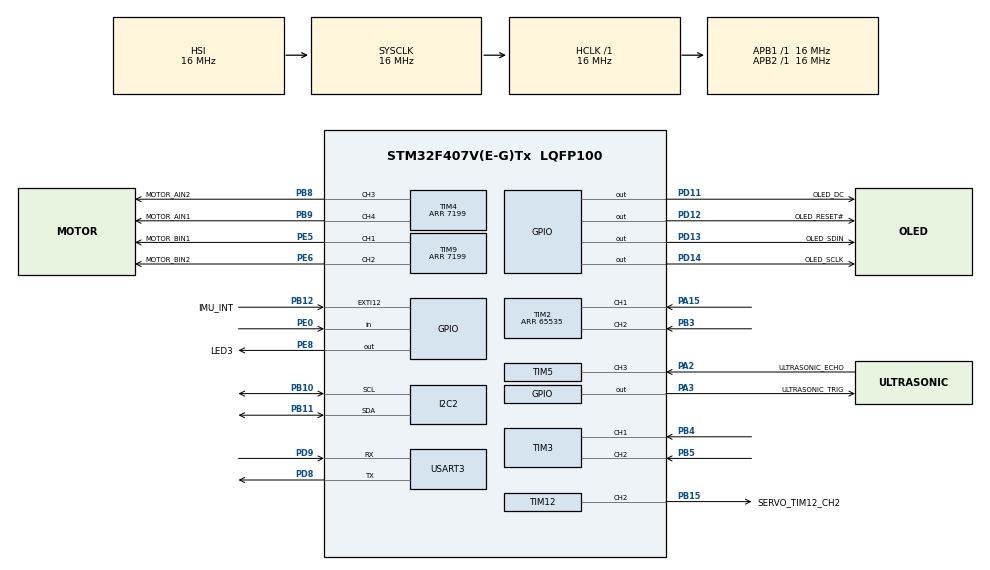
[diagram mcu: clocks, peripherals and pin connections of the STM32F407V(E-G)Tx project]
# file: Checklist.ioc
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FREERTOS.Queues01=uartQueue,32,uint8_t,0,Dynamic,NULL,NULL
FREERTOS.Tasks01=defaultTask,24,256,StartDefaultTask,Default,NULL,Dynamic,NULL,NULL;communicateTask,32,256,StartCommunicateTask,Default,NULL,Dynamic,NULL,NULL;motorTask,24,256,StartMotorTask,Default,NULL,Dynamic,NULL,NULL;oledTask,8,512,StartOledTask,Default,NULL,Dynamic,NULL,NULL;gyroTask,32,256,StartGyroTask,Default,NULL,Dynamic,NULL,NULL;ultrasonicTask,16,256,StartUltrasonicTask,Default,NULL,Dynamic,NULL,NULL
Mcu.Family=STM32F4
Mcu.Name=STM32F407V(E-G)Tx
Mcu.Package=LQFP100
NVIC.PriorityGroup=NVIC_PRIORITYGROUP_4
NVIC.TIM5_IRQn=true\:5\:0\:false\:false\:true\:true\:true\:true\:true
NVIC.TIM7_IRQn=true\:15\:0\:false\:false\:true\:false\:false\:true\:true
NVIC.TimeBase=TIM7_IRQn
NVIC.TimeBaseIP=TIM7
NVIC.USART3_IRQn=true\:5\:0\:false\:false\:true\:true\:true\:true\:true
PA13.Signal=SYS_JTMS-SWDIO
PA14.Signal=SYS_JTCK-SWCLK
PA15.Signal=S_TIM2_CH1_ETR
PA2.GPIO_Label=ULTRASONIC_ECHO
PA2.Signal=S_TIM5_CH3
PA3.GPIO_Label=ULTRASONIC_TRIG
PA3.Signal=GPIO_Output
PB10.Mode=I2C
PB10.Signal=I2C2_SCL
PB11.Mode=I2C
PB11.Signal=I2C2_SDA
PB12.GPIO_Label=IMU_INT
PB12.Signal=GPXTI12
PB15.GPIO_Label=SERVO_TIM12_CH2
PB15.Signal=S_TIM12_CH2
PB3.Signal=S_TIM2_CH2
PB4.Signal=S_TIM3_CH1
PB5.Signal=S_TIM3_CH2
PB8.GPIO_Label=MOTOR_AIN2
PB8.GPIO_Speed=GPIO_SPEED_FREQ_HIGH
PB8.Signal=S_TIM4_CH3
PB9.GPIO_Label=MOTOR_AIN1
PB9.GPIO_Speed=GPIO_SPEED_FREQ_HIGH
PB9.Signal=S_TIM4_CH4
PD11.GPIO_Label=OLED_DC
PD11.Signal=GPIO_Output
PD12.GPIO_Label=OLED_RESET\#
PD12.Signal=GPIO_Output
PD13.GPIO_Label=OLED_SDIN
PD13.Signal=GPIO_Output
PD14.GPIO_Label=OLED_SCLK
PD14.Signal=GPIO_Output
PD8.Mode=Asynchronous
PD8.Signal=USART3_TX
PD9.Mode=Asynchronous
PD9.Signal=USART3_RX
PE0.Signal=GPIO_Input
PE5.GPIO_Label=MOTOR_BIN1
PE5.GPIO_Speed=GPIO_SPEED_FREQ_HIGH
PE5.Signal=S_TIM9_CH1
PE6.GPIO_Label=MOTOR_BIN2
PE6.GPIO_Speed=GPIO_SPEED_FREQ_HIGH
PE6.Signal=S_TIM9_CH2
PE8.GPIO_Label=LED3
PE8.Signal=GPIO_Output
ProjectManager.HeapSize=0x200
ProjectManager.StackSize=0x400
ProjectManager.TargetToolchain=STM32CubeIDE
RCC.AHBFreq_Value=16000000
RCC.APB1Freq_Value=16000000
RCC.APB2Freq_Value=16000000
RCC.CortexFreq_Value=16000000
RCC.HSE_VALUE=25000000
RCC.HSI_VALUE=16000000
RCC.LSE_VALUE=32768
RCC.SYSCLKFreq_VALUE=16000000
RCC.VCOOutputFreq_Value=192000000
SH.S_TIM12_CH2.0=TIM12_CH2,PWM Generation2 CH2
SH.S_TIM2_CH1_ETR.0=TIM2_CH1,Encoder_Interface
SH.S_TIM2_CH2.0=TIM2_CH2,Encoder_Interface
SH.S_TIM3_CH1.0=TIM3_CH1,Encoder_Interface
SH.S_TIM3_CH2.0=TIM3_CH2,Encoder_Interface
SH.S_TIM4_CH3.0=TIM4_CH3,PWM Generation3 CH3
SH.S_TIM4_CH4.0=TIM4_CH4,PWM Generation4 CH4
SH.S_TIM5_CH3.0=TIM5_CH3,Input_Capture3_from_TI3
SH.S_TIM9_CH1.0=TIM9_CH1,PWM Generation1 CH1
SH.S_TIM9_CH2.0=TIM9_CH2,PWM Generation2 CH2
TIM12.AutoReloadPreload=TIM_AUTORELOAD_PRELOAD_ENABLE
TIM12.Channel-PWM\ Generation2\ CH2=TIM_CHANNEL_2
TIM12.Period=2000-1
TIM12.Prescaler=160-1
TIM2.EncoderMode=TIM_ENCODERMODE_TI12
TIM2.IC1Filter=10
TIM2.IC2Filter=10
TIM2.Period=65535
TIM3.EncoderMode=TIM_ENCODERMODE_TI12
TIM3.IC1Filter=10
TIM3.IC1Polarity=TIM_ICPOLARITY_FALLING
TIM3.IC2Filter=10
TIM3.IC2Polarity=TIM_ICPOLARITY_RISING
TIM4.AutoReloadPreload=TIM_AUTORELOAD_PRELOAD_ENABLE
TIM4.Channel-PWM\ Generation3\ CH3=TIM_CHANNEL_3
TIM4.Channel-PWM\ Generation4\ CH4=TIM_CHANNEL_4
TIM4.Period=7199
TIM5.Channel-Input_Capture3_from_TI3=TIM_CHANNEL_3
TIM5.Period=65535
TIM5.Prescaler=16-1
TIM6.Prescaler=16-1
TIM9.AutoReloadPreload=TIM_AUTORELOAD_PRELOAD_ENABLE
TIM9.Channel-PWM\ Generation1\ CH1=TIM_CHANNEL_1
TIM9.Channel-PWM\ Generation2\ CH2=TIM_CHANNEL_2
TIM9.Period=7199
USART3.VirtualMode=VM_ASYNC
VP_FREERTOS_VS_CMSIS_V2.Mode=CMSIS_V2
VP_SYS_VS_tim7.Mode=TIM7
VP_TIM12_VS_ClockSourceINT.Mode=Internal
VP_TIM4_VS_ClockSourceINT.Mode=Internal
VP_TIM5_VS_ClockSourceINT.Mode=Internal
VP_TIM6_VS_ClockSourceINT.Mode=Enable_Timer
VP_TIM9_VS_ClockSourceINT.Mode=Internal
board=custom

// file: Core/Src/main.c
/* USER CODE BEGIN Header */
/**
  ******************************************************************************
  * @file           : main.c
  * @brief          : Main program body
  ******************************************************************************
  * @attention
  *
  * Copyright (c) 2026 STMicroelectronics.
  * All rights reserved.
  *
  * This software is licensed under terms that can be found in the LICENSE file
  * in the root directory of this software component.
  * If no LICENSE file comes with this software, it is provided AS-IS.
  *
  ******************************************************************************
  */
/* USER CODE END Header */
#include "main.h"
#include "cmsis_os.h"

/* USER CODE BEGIN Includes */
#include "oled.h"
#include <stdio.h>
#include <string.h>
#include "ICM20948.h"
#include <stdlib.h>
#include <math.h>
/* USER CODE END Includes */

/* USER CODE BEGIN PD */
/* ==========================================
 *        CALIBRATION CONTROL PANEL
 * ========================================== */

// --- 1. DISTANCE & GYRO CALIBRATION ---
#define TICKS_PER_CM         59.44f	// Tweak if "S10" travels more or less than 10cm
#define SLIDE_TICKS_PER_CM   75.19  // Specific tuning multiplier used in slide maneuvers
#define BACKWARD_MULTIPLIER	 1.12f

// --- 2. MOTOR BIAS (HARDWARE OFFSETS) ---
// Move Straight
#define RIGHT_MOTOR_BIAS     1.18f  // If drifts left, decrease. If drifts right, increase.
// Left Turn 90 to 360
#define TURN_BIAS_DEG_L      37.73f  // If over-turns left, increase. If under-turns, decrease.
#define TURN_SCALE_L		 1.00f
// Left Turn 45
#define TURN_BIAS_DEG_L_SMALL	5.0f
#define TURN_SCALE_L_SMALL		0.95f
// Right Turn 90 to 360
#define TURN_BIAS_DEG_R		 20.83f
#define TURN_SCALE_R		 0.9813f
// Right Turn 45
#define TURN_BIAS_DEG_R_SMALL 5.0f	// Proportional bias for right turns
#define TURN_SCALE_R_SMALL	 0.95f
// Misc Bias
#define TURN_SLAVE_RATIO     0.59    	// Speed ratio of inner wheel during arc turns
#define TURN_STOP_TOLERANCE_DEG 1.0f

// --- 3. SERVO CALIBRATION ---
#define SERVOCENTER          150
#define SERVOLEFT            100
#define SERVORIGHT           200
#define TURNLEFT_TH          115
#define TURNRIGHT_TH         195

// --- 4. PID GAINS (Tune for different floors!) ---
// Straight Line Controller
#define PID_STRAIGHT_KP		 1.8f	// Proportional Gain: How aggresively it seeks the target.
#define PID_STRAIGHT_KI		 0.05f	// Integral Gain: How aggresively it fights getting stuck (hills/bumps).
#define GYRO_CORRECTION_KP	 35.0f	// Proportional Gain: How aggresively it corrects straight-line drift.

// Turning Controller
#define PID_ANG_MAX          4800   // Cruise speed for large angle turns (> 45 deg)
#define PID_ANG_HIGH         4400	// Approaching (25 to 45 deg)
#define PID_ANG_MED          4100	// Deceleration zone (15 to 25 deg)
#define PID_ANG_LOW          3900	// Approach speed (6 to 15 deg)
#define PID_ANG_FINE         3800	// Final settle speed (2 to 6 deg)
#define PID_ANG_MIN_L        2900   // Minimum power to overcome turn friction.
#define PID_ANG_MIN_R		 3700

// --- 5. PWM POWER LIMITS (Max Power = 7199) ---
#define PID_STR_MAX          5000   // ~55% speed (Leave headroom so PID has room to adjust!)
#define PID_STR_MIN          2800   // Minimum power to break static floor friction

/* USER CODE END PD */

 I2C_HandleTypeDef hi2c2;

TIM_HandleTypeDef htim2;
TIM_HandleTypeDef htim3;
TIM_HandleTypeDef htim4;
TIM_HandleTypeDef htim5;
TIM_HandleTypeDef htim6;
TIM_HandleTypeDef htim9;
TIM_HandleTypeDef htim12;

UART_HandleTypeDef huart3;

/* Definitions for defaultTask */
osThreadId_t defaultTaskHandle;
/* Larger stacks prevent task-local buffers and formatting from exhausting the
 * original 1 KB allocations. */
const osThreadAttr_t defaultTask_attributes = {
  .name = "defaultTask",
  .stack_size = 512 * 4,
  .priority = (osPriority_t) osPriorityNormal,
};
/* Definitions for communicateTask */
osThreadId_t communicateTaskHandle;
const osThreadAttr_t communicateTask_attributes = {
  .name = "communicateTask",
  .stack_size = 512 * 4,
  .priority = (osPriority_t) osPriorityAboveNormal,
};
/* Definitions for motorTask */
osThreadId_t motorTaskHandle;
const osThreadAttr_t motorTask_attributes = {
  .name = "motorTask",
  .stack_size = 512 * 4,
  .priority = (osPriority_t) osPriorityNormal,
};
/* Definitions for oledTask */
osThreadId_t oledTaskHandle;
const osThreadAttr_t oledTask_attributes = {
  .name = "oledTask",
  .stack_size = 768 * 4,
  .priority = (osPriority_t) osPriorityLow,
};
/* Definitions for gyroTask */
osThreadId_t gyroTaskHandle;
const osThreadAttr_t gyroTask_attributes = {
  .name = "gyroTask",
  .stack_size = 512 * 4,
  .priority = (osPriority_t) osPriorityAboveNormal,
};
/* Definitions for ultrasonicTask */
osThreadId_t ultrasonicTaskHandle;
const osThreadAttr_t ultrasonicTask_attributes = {
  .name = "ultrasonicTask",
  .stack_size = 512 * 4,
  .priority = (osPriority_t) osPriorityBelowNormal,
};
/* Definitions for uartQueue */
osMessageQueueId_t uartQueueHandle;
const osMessageQueueAttr_t uartQueue_attributes = {
  .name = "uartQueue"
};
/* USER CODE BEGIN PV */

// Global variables safely accessed by FreeRTOS tasks
/* --- SERIAL COMMUNICATION VARIABLES --- */
uint8_t rxByte;									// UART receive buffer
int flag_done = 0;
int magnitude = 0;

/* --- MOTOR VARIABLES --- */
uint16_t pwmVal_servo = SERVOCENTER;
uint16_t pwmVal_R = 0;
uint16_t pwmVal_L = 0;
int times_acceptable = 0;
int e_brake = 0;
int is_moving = 0; 							    // (0 = Idle, 1 = Moving)
uint32_t move_start_time = 0;
/* Track completion for UART telemetry and let the receive ISR request a
 * prompt, safe motor shutdown. */
uint8_t move_finish_reason = 0; 			    // 1 = reached gyro/encoder target, 2 = timeout
volatile uint8_t emergency_stop_requested = 0;  // Set by UART ISR on '!'.
float distance_integral = 0.0;
uint32_t current_cmd_timeout = 5000;

/* --- ENCODER VARIABLES --- */
int32_t left_encoder_val = 0;
int32_t right_encoder_val = 0;
int32_t left_target = 0;
int32_t right_target = 0;
double target_angle = 0;

/* --- GYROSCOPE VARIABLES --- */
double total_angle = 0;
uint8_t gyroBuffer[20];
uint8_t ICMAddress = 0x68;
double error_angle = 0;

/* --- OLED DISPLAY VARIABLES --- */
char oled_status_msg[32] = "Booting...";		// For boot/status message
char dash_lastCmd[15] = "None";					// RPi command
double dash_gyroZ = 0.0;						// Gyroscope angle
float dash_ultraDist = 0.0;						// Ultrasonic distance
int dash_encoderL = 0;							// Encoder Left Speed
int dash_encoderR = 0;							// Encoder Right Speed
uint16_t dash_direction = 0;					// Robot direction?
uint32_t diag_timer = 0;
int16_t dash_speedL = 0;
int16_t dash_speedR = 0;

/* --- ULTRASONIC VARIABLES --- */
uint32_t tc1 = 0;
uint32_t tc2 = 0;
uint32_t echo = 0;
uint8_t first_captured = 0;
uint16_t distance = 0;
int k = 0;

/* USER CODE END PV */

void SystemClock_Config(void);
static void MX_GPIO_Init(void);
static void MX_USART3_UART_Init(void);
static void MX_TIM6_Init(void);
static void MX_I2C2_Init(void);
static void MX_TIM5_Init(void);
static void MX_TIM4_Init(void);
static void MX_TIM9_Init(void);
static void MX_TIM2_Init(void);
static void MX_TIM3_Init(void);
static void MX_TIM12_Init(void);
void StartDefaultTask(void *argument);
void StartCommunicateTask(void *argument);
void StartMotorTask(void *argument);
void StartOledTask(void *argument);
void StartGyroTask(void *argument);
void StartUltrasonicTask(void *argument);

int main(void)
{

  /* MCU Configuration--------------------------------------------------------*/

  /* Reset of all peripherals, Initializes the Flash interface and the Systick. */
  HAL_Init();

  /* Configure the system clock */
  SystemClock_Config();

  /* Initialize all configured peripherals */
  MX_GPIO_Init();
  MX_USART3_UART_Init();
  MX_TIM6_Init();
  MX_I2C2_Init();
  MX_TIM5_Init();
  MX_TIM4_Init();
  MX_TIM9_Init();
  MX_TIM2_Init();
  MX_TIM3_Init();
  MX_TIM12_Init();
  /* USER CODE BEGIN 2 */
  OLED_Init();
  strcpy(oled_status_msg, "System Init OK");
  osDelay(500);

  // Initialize IMU
  if (ICM20948_Init() == HAL_OK)
  {
	  strcpy(oled_status_msg, "IMU Found");
	  osDelay(500);
  } else {
	  strcpy(oled_status_msg, "IMU ERROR!");
	  while(1);
  }

  // Start UART Interrupt Listener
  HAL_UART_Receive_IT(&huart3, &rxByte, 1);

  // Start Ultrasonic Timers
  HAL_TIM_Base_Start(&htim6);
  HAL_TIM_IC_Start_IT(&htim5, TIM_CHANNEL_3);
  /* USER CODE END 2 */

  /* Init scheduler */
  osKernelInitialize();

  /* Create the queue(s) */
  /* creation of uartQueue */
  uartQueueHandle = osMessageQueueNew (32, sizeof(uint8_t), &uartQueue_attributes);

  /* Create the thread(s) */
  /* creation of defaultTask */
  defaultTaskHandle = osThreadNew(StartDefaultTask, NULL, &defaultTask_attributes);

  /* creation of communicateTask */
  communicateTaskHandle = osThreadNew(StartCommunicateTask, NULL, &communicateTask_attributes);

  /* creation of motorTask */
  motorTaskHandle = osThreadNew(StartMotorTask, NULL, &motorTask_attributes);

  /* creation of oledTask */
  oledTaskHandle = osThreadNew(StartOledTask, NULL, &oledTask_attributes);

  /* creation of gyroTask */
  gyroTaskHandle = osThreadNew(StartGyroTask, NULL, &gyroTask_attributes);

  /* creation of ultrasonicTask */
  ultrasonicTaskHandle = osThreadNew(StartUltrasonicTask, NULL, &ultrasonicTask_attributes);

  /* Start scheduler */
  osKernelStart();

  /* We should never get here as control is now taken by the scheduler */
  /* Infinite loop */
  while (1)
  {

  }
}

void SystemClock_Config(void)
{
  RCC_OscInitTypeDef RCC_OscInitStruct = {0};
  RCC_ClkInitTypeDef RCC_ClkInitStruct = {0};

  /** Configure the main internal regulator output voltage
  */
  __HAL_RCC_PWR_CLK_ENABLE();
  __HAL_PWR_VOLTAGESCALING_CONFIG(PWR_REGULATOR_VOLTAGE_SCALE1);

  /** Initializes the RCC Oscillators according to the specified parameters
  * in the RCC_OscInitTypeDef structure.
  */
  RCC_OscInitStruct.OscillatorType = RCC_OSCILLATORTYPE_HSI;
  RCC_OscInitStruct.HSIState = RCC_HSI_ON;
  RCC_OscInitStruct.HSICalibrationValue = RCC_HSICALIBRATION_DEFAULT;
  RCC_OscInitStruct.PLL.PLLState = RCC_PLL_NONE;
  if (HAL_RCC_OscConfig(&RCC_OscInitStruct) != HAL_OK)
  {
    Error_Handler();
  }

  /** Initializes the CPU, AHB and APB buses clocks
  */
  RCC_ClkInitStruct.ClockType = RCC_CLOCKTYPE_HCLK|RCC_CLOCKTYPE_SYSCLK
                              |RCC_CLOCKTYPE_PCLK1|RCC_CLOCKTYPE_PCLK2;
  RCC_ClkInitStruct.SYSCLKSource = RCC_SYSCLKSOURCE_HSI;
  RCC_ClkInitStruct.AHBCLKDivider = RCC_SYSCLK_DIV1;
  RCC_ClkInitStruct.APB1CLKDivider = RCC_HCLK_DIV1;
  RCC_ClkInitStruct.APB2CLKDivider = RCC_HCLK_DIV1;

  if (HAL_RCC_ClockConfig(&RCC_ClkInitStruct, FLASH_LATENCY_0) != HAL_OK)
  {
    Error_Handler();
  }
}

static void MX_I2C2_Init(void)
{

  hi2c2.Instance = I2C2;
  hi2c2.Init.ClockSpeed = 100000;
  hi2c2.Init.DutyCycle = I2C_DUTYCYCLE_2;
  hi2c2.Init.OwnAddress1 = 0;
  hi2c2.Init.AddressingMode = I2C_ADDRESSINGMODE_7BIT;
  hi2c2.Init.DualAddressMode = I2C_DUALADDRESS_DISABLE;
  hi2c2.Init.OwnAddress2 = 0;
  hi2c2.Init.GeneralCallMode = I2C_GENERALCALL_DISABLE;
  hi2c2.Init.NoStretchMode = I2C_NOSTRETCH_DISABLE;
  if (HAL_I2C_Init(&hi2c2) != HAL_OK)
  {
    Error_Handler();
  }

}

static void MX_TIM2_Init(void)
{

  TIM_Encoder_InitTypeDef sConfig = {0};
  TIM_MasterConfigTypeDef sMasterConfig = {0};

  htim2.Instance = TIM2;
  htim2.Init.Prescaler = 0;
  htim2.Init.CounterMode = TIM_COUNTERMODE_UP;
  htim2.Init.Period = 65535;
  htim2.Init.ClockDivision = TIM_CLOCKDIVISION_DIV1;
  htim2.Init.AutoReloadPreload = TIM_AUTORELOAD_PRELOAD_DISABLE;
  sConfig.EncoderMode = TIM_ENCODERMODE_TI12;
  sConfig.IC1Polarity = TIM_ICPOLARITY_RISING;
  sConfig.IC1Selection = TIM_ICSELECTION_DIRECTTI;
  sConfig.IC1Prescaler = TIM_ICPSC_DIV1;
  sConfig.IC1Filter = 10;
  sConfig.IC2Polarity = TIM_ICPOLARITY_RISING;
  sConfig.IC2Selection = TIM_ICSELECTION_DIRECTTI;
  sConfig.IC2Prescaler = TIM_ICPSC_DIV1;
  sConfig.IC2Filter = 10;
  if (HAL_TIM_Encoder_Init(&htim2, &sConfig) != HAL_OK)
  {
    Error_Handler();
  }
  sMasterConfig.MasterOutputTrigger = TIM_TRGO_RESET;
  sMasterConfig.MasterSlaveMode = TIM_MASTERSLAVEMODE_DISABLE;
  if (HAL_TIMEx_MasterConfigSynchronization(&htim2, &sMasterConfig) != HAL_OK)
  {
    Error_Handler();
  }

}

static void MX_TIM3_Init(void)
{

  TIM_Encoder_InitTypeDef sConfig = {0};
  TIM_MasterConfigTypeDef sMasterConfig = {0};

  htim3.Instance = TIM3;
  htim3.Init.Prescaler = 0;
  htim3.Init.CounterMode = TIM_COUNTERMODE_UP;
  htim3.Init.Period = 65535;
  htim3.Init.ClockDivision = TIM_CLOCKDIVISION_DIV1;
  htim3.Init.AutoReloadPreload = TIM_AUTORELOAD_PRELOAD_DISABLE;
  sConfig.EncoderMode = TIM_ENCODERMODE_TI12;
  sConfig.IC1Polarity = TIM_ICPOLARITY_FALLING;
  sConfig.IC1Selection = TIM_ICSELECTION_DIRECTTI;
  sConfig.IC1Prescaler = TIM_ICPSC_DIV1;
  sConfig.IC1Filter = 10;
  sConfig.IC2Polarity = TIM_ICPOLARITY_RISING;
  sConfig.IC2Selection = TIM_ICSELECTION_DIRECTTI;
  sConfig.IC2Prescaler = TIM_ICPSC_DIV1;
  sConfig.IC2Filter = 10;
  if (HAL_TIM_Encoder_Init(&htim3, &sConfig) != HAL_OK)
  {
    Error_Handler();
  }
  sMasterConfig.MasterOutputTrigger = TIM_TRGO_RESET;
  sMasterConfig.MasterSlaveMode = TIM_MASTERSLAVEMODE_DISABLE;
  if (HAL_TIMEx_MasterConfigSynchronization(&htim3, &sMasterConfig) != HAL_OK)
  {
    Error_Handler();
  }

}

static void MX_TIM4_Init(void)
{

  TIM_ClockConfigTypeDef sClockSourceConfig = {0};
  TIM_MasterConfigTypeDef sMasterConfig = {0};
  TIM_OC_InitTypeDef sConfigOC = {0};

  htim4.Instance = TIM4;
  htim4.Init.Prescaler = 0;
  htim4.Init.CounterMode = TIM_COUNTERMODE_UP;
  htim4.Init.Period = 7199;
  htim4.Init.ClockDivision = TIM_CLOCKDIVISION_DIV1;
  htim4.Init.AutoReloadPreload = TIM_AUTORELOAD_PRELOAD_ENABLE;
  if (HAL_TIM_Base_Init(&htim4) != HAL_OK)
  {
    Error_Handler();
  }
  sClockSourceConfig.ClockSource = TIM_CLOCKSOURCE_INTERNAL;
  if (HAL_TIM_ConfigClockSource(&htim4, &sClockSourceConfig) != HAL_OK)
  {
    Error_Handler();
  }
  if (HAL_TIM_PWM_Init(&htim4) != HAL_OK)
  {
    Error_Handler();
  }
  sMasterConfig.MasterOutputTrigger = TIM_TRGO_RESET;
  sMasterConfig.MasterSlaveMode = TIM_MASTERSLAVEMODE_DISABLE;
  if (HAL_TIMEx_MasterConfigSynchronization(&htim4, &sMasterConfig) != HAL_OK)
  {
    Error_Handler();
  }
  sConfigOC.OCMode = TIM_OCMODE_PWM1;
  sConfigOC.Pulse = 0;
  sConfigOC.OCPolarity = TIM_OCPOLARITY_HIGH;
  sConfigOC.OCFastMode = TIM_OCFAST_DISABLE;
  if (HAL_TIM_PWM_ConfigChannel(&htim4, &sConfigOC, TIM_CHANNEL_3) != HAL_OK)
  {
    Error_Handler();
  }
  if (HAL_TIM_PWM_ConfigChannel(&htim4, &sConfigOC, TIM_CHANNEL_4) != HAL_OK)
  {
    Error_Handler();
  }
  HAL_TIM_MspPostInit(&htim4);

}

static void MX_TIM5_Init(void)
{

  TIM_ClockConfigTypeDef sClockSourceConfig = {0};
  TIM_MasterConfigTypeDef sMasterConfig = {0};
  TIM_IC_InitTypeDef sConfigIC = {0};

  htim5.Instance = TIM5;
  htim5.Init.Prescaler = 16-1;
  htim5.Init.CounterMode = TIM_COUNTERMODE_UP;
  htim5.Init.Period = 65535;
  htim5.Init.ClockDivision = TIM_CLOCKDIVISION_DIV1;
  htim5.Init.AutoReloadPreload = TIM_AUTORELOAD_PRELOAD_DISABLE;
  if (HAL_TIM_Base_Init(&htim5) != HAL_OK)
  {
    Error_Handler();
  }
  sClockSourceConfig.ClockSource = TIM_CLOCKSOURCE_INTERNAL;
  if (HAL_TIM_ConfigClockSource(&htim5, &sClockSourceConfig) != HAL_OK)
  {
    Error_Handler();
  }
  if (HAL_TIM_IC_Init(&htim5) != HAL_OK)
  {
    Error_Handler();
  }
  sMasterConfig.MasterOutputTrigger = TIM_TRGO_RESET;
  sMasterConfig.MasterSlaveMode = TIM_MASTERSLAVEMODE_DISABLE;
  if (HAL_TIMEx_MasterConfigSynchronization(&htim5, &sMasterConfig) != HAL_OK)
  {
    Error_Handler();
  }
  sConfigIC.ICPolarity = TIM_INPUTCHANNELPOLARITY_RISING;
  sConfigIC.ICSelection = TIM_ICSELECTION_DIRECTTI;
  sConfigIC.ICPrescaler = TIM_ICPSC_DIV1;
  sConfigIC.ICFilter = 0;
  if (HAL_TIM_IC_ConfigChannel(&htim5, &sConfigIC, TIM_CHANNEL_3) != HAL_OK)
  {
    Error_Handler();
  }

}

static void MX_TIM6_Init(void)
{

  TIM_MasterConfigTypeDef sMasterConfig = {0};

  htim6.Instance = TIM6;
  htim6.Init.Prescaler = 16-1;
  htim6.Init.CounterMode = TIM_COUNTERMODE_UP;
  htim6.Init.Period = 65535;
  htim6.Init.AutoReloadPreload = TIM_AUTORELOAD_PRELOAD_DISABLE;
  if (HAL_TIM_Base_Init(&htim6) != HAL_OK)
  {
    Error_Handler();
  }
  sMasterConfig.MasterOutputTrigger = TIM_TRGO_RESET;
  sMasterConfig.MasterSlaveMode = TIM_MASTERSLAVEMODE_DISABLE;
  if (HAL_TIMEx_MasterConfigSynchronization(&htim6, &sMasterConfig) != HAL_OK)
  {
    Error_Handler();
  }

}

static void MX_TIM9_Init(void)
{

  TIM_ClockConfigTypeDef sClockSourceConfig = {0};
  TIM_OC_InitTypeDef sConfigOC = {0};

  htim9.Instance = TIM9;
  htim9.Init.Prescaler = 0;
  htim9.Init.CounterMode = TIM_COUNTERMODE_UP;
  htim9.Init.Period = 7199;
  htim9.Init.ClockDivision = TIM_CLOCKDIVISION_DIV1;
  htim9.Init.AutoReloadPreload = TIM_AUTORELOAD_PRELOAD_ENABLE;
  if (HAL_TIM_Base_Init(&htim9) != HAL_OK)
  {
    Error_Handler();
  }
  sClockSourceConfig.ClockSource = TIM_CLOCKSOURCE_INTERNAL;
  if (HAL_TIM_ConfigClockSource(&htim9, &sClockSourceConfig) != HAL_OK)
  {
    Error_Handler();
  }
  if (HAL_TIM_PWM_Init(&htim9) != HAL_OK)
  {
    Error_Handler();
  }
  sConfigOC.OCMode = TIM_OCMODE_PWM1;
  sConfigOC.Pulse = 0;
  sConfigOC.OCPolarity = TIM_OCPOLARITY_HIGH;
  sConfigOC.OCFastMode = TIM_OCFAST_DISABLE;
  if (HAL_TIM_PWM_ConfigChannel(&htim9, &sConfigOC, TIM_CHANNEL_1) != HAL_OK)
  {
    Error_Handler();
  }
  if (HAL_TIM_PWM_ConfigChannel(&htim9, &sConfigOC, TIM_CHANNEL_2) != HAL_OK)
  {
    Error_Handler();
  }
  HAL_TIM_MspPostInit(&htim9);

}

static void MX_TIM12_Init(void)
{

  TIM_ClockConfigTypeDef sClockSourceConfig = {0};
  TIM_OC_InitTypeDef sConfigOC = {0};

  htim12.Instance = TIM12;
  htim12.Init.Prescaler = 160-1;
  htim12.Init.CounterMode = TIM_COUNTERMODE_UP;
  htim12.Init.Period = 2000-1;
  htim12.Init.ClockDivision = TIM_CLOCKDIVISION_DIV1;
  htim12.Init.AutoReloadPreload = TIM_AUTORELOAD_PRELOAD_ENABLE;
  if (HAL_TIM_Base_Init(&htim12) != HAL_OK)
  {
    Error_Handler();
  }
  sClockSourceConfig.ClockSource = TIM_CLOCKSOURCE_INTERNAL;
  if (HAL_TIM_ConfigClockSource(&htim12, &sClockSourceConfig) != HAL_OK)
  {
    Error_Handler();
  }
  if (HAL_TIM_PWM_Init(&htim12) != HAL_OK)
  {
    Error_Handler();
  }
  sConfigOC.OCMode = TIM_OCMODE_PWM1;
  sConfigOC.Pulse = 0;
  sConfigOC.OCPolarity = TIM_OCPOLARITY_HIGH;
  sConfigOC.OCFastMode = TIM_OCFAST_DISABLE;
  if (HAL_TIM_PWM_ConfigChannel(&htim12, &sConfigOC, TIM_CHANNEL_2) != HAL_OK)
  {
    Error_Handler();
  }
  HAL_TIM_MspPostInit(&htim12);

}

static void MX_USART3_UART_Init(void)
{

  huart3.Instance = USART3;
  huart3.Init.BaudRate = 115200;
  huart3.Init.WordLength = UART_WORDLENGTH_8B;
  huart3.Init.StopBits = UART_STOPBITS_1;
  huart3.Init.Parity = UART_PARITY_NONE;
  huart3.Init.Mode = UART_MODE_TX_RX;
  huart3.Init.HwFlowCtl = UART_HWCONTROL_NONE;
  huart3.Init.OverSampling = UART_OVERSAMPLING_16;
  if (HAL_UART_Init(&huart3) != HAL_OK)
  {
    Error_Handler();
  }

}

static void MX_GPIO_Init(void)
{
  GPIO_InitTypeDef GPIO_InitStruct = {0};

  /* GPIO Ports Clock Enable */
  __HAL_RCC_GPIOE_CLK_ENABLE();
  __HAL_RCC_GPIOA_CLK_ENABLE();
  __HAL_RCC_GPIOB_CLK_ENABLE();
  __HAL_RCC_GPIOD_CLK_ENABLE();

  /*Configure GPIO pin Output Level */
  HAL_GPIO_WritePin(ULTRASONIC_TRIG_GPIO_Port, ULTRASONIC_TRIG_Pin, GPIO_PIN_RESET);

  /*Configure GPIO pin Output Level */
  HAL_GPIO_WritePin(LED3_GPIO_Port, LED3_Pin, GPIO_PIN_RESET);

  /*Configure GPIO pin Output Level */
  HAL_GPIO_WritePin(GPIOD, OLED_DC_Pin|OLED_RESET__Pin|OLED_SDIN_Pin|OLED_SCLK_Pin, GPIO_PIN_RESET);

  /*Configure GPIO pin : ULTRASONIC_TRIG_Pin */
  GPIO_InitStruct.Pin = ULTRASONIC_TRIG_Pin;
  GPIO_InitStruct.Mode = GPIO_MODE_OUTPUT_PP;
  GPIO_InitStruct.Pull = GPIO_NOPULL;
  GPIO_InitStruct.Speed = GPIO_SPEED_FREQ_LOW;
  HAL_GPIO_Init(ULTRASONIC_TRIG_GPIO_Port, &GPIO_InitStruct);

  /*Configure GPIO pin : LED3_Pin */
  GPIO_InitStruct.Pin = LED3_Pin;
  GPIO_InitStruct.Mode = GPIO_MODE_OUTPUT_PP;
  GPIO_InitStruct.Pull = GPIO_NOPULL;
  GPIO_InitStruct.Speed = GPIO_SPEED_FREQ_LOW;
  HAL_GPIO_Init(LED3_GPIO_Port, &GPIO_InitStruct);

  /*Configure GPIO pin : IMU_INT_Pin */
  GPIO_InitStruct.Pin = IMU_INT_Pin;
  GPIO_InitStruct.Mode = GPIO_MODE_IT_RISING;
  GPIO_InitStruct.Pull = GPIO_NOPULL;
  HAL_GPIO_Init(IMU_INT_GPIO_Port, &GPIO_InitStruct);

  /*Configure GPIO pins : OLED_DC_Pin OLED_RESET__Pin OLED_SDIN_Pin OLED_SCLK_Pin */
  GPIO_InitStruct.Pin = OLED_DC_Pin|OLED_RESET__Pin|OLED_SDIN_Pin|OLED_SCLK_Pin;
  GPIO_InitStruct.Mode = GPIO_MODE_OUTPUT_PP;
  GPIO_InitStruct.Pull = GPIO_NOPULL;
  GPIO_InitStruct.Speed = GPIO_SPEED_FREQ_LOW;
  HAL_GPIO_Init(GPIOD, &GPIO_InitStruct);

  /*Configure GPIO pin : PE0 */
  GPIO_InitStruct.Pin = GPIO_PIN_0;
  GPIO_InitStruct.Mode = GPIO_MODE_INPUT;
  GPIO_InitStruct.Pull = GPIO_NOPULL;
  HAL_GPIO_Init(GPIOE, &GPIO_InitStruct);

}

/* USER CODE BEGIN 4 */
// Serial Communication Interrupt Callback
void HAL_UART_RxCpltCallback(UART_HandleTypeDef *huart) {
	/* Prevent unused argument(s) compilation warning */
	if (huart -> Instance == USART3)
	{
		/* Handle emergency stop in the ISR so it is not delayed by a blocking
		 * movement command in the communication task. */
		if (rxByte == '!')
		{
			emergency_stop_requested = 1;
			is_moving = 0;
		}
		osMessageQueuePut(uartQueueHandle, &rxByte, 0U, 0U);
		HAL_UART_Receive_IT(&huart3, &rxByte, 1);
	}
}

// Ultrasonic Microsecond Delay
void delay_us(uint16_t us) {
	__HAL_TIM_SET_COUNTER(&htim6, 0);
	while(__HAL_TIM_GET_COUNTER(&htim6) < us);
}

// Ultrasonic Input Capture Callback
void HAL_TIM_IC_CaptureCallback(TIM_HandleTypeDef *htim) {
	if (htim->Instance == TIM5 && htim->Channel == HAL_TIM_ACTIVE_CHANNEL_3) {
		if (first_captured == 0) {
			tc1 = HAL_TIM_ReadCapturedValue(htim, TIM_CHANNEL_3);
			first_captured = 1;
			__HAL_TIM_SET_CAPTUREPOLARITY(htim, TIM_CHANNEL_3, TIM_INPUTCHANNELPOLARITY_FALLING);
		}
		else if (first_captured == 1) {
			tc2 = HAL_TIM_ReadCapturedValue(htim, TIM_CHANNEL_3);
			__HAL_TIM_SET_COUNTER(htim, 0);

			if (tc2 > tc1)
				echo = tc2 - tc1;
			else
				echo = (65535 - tc1) + tc2;

			// Update ultrasonic distance
			dash_ultraDist = (echo * 0.0343 / 2) + 1;

			first_captured = 0;

			__HAL_TIM_SET_CAPTUREPOLARITY(htim, TIM_CHANNEL_3, TIM_INPUTCHANNELPOLARITY_RISING);
			__HAL_TIM_DISABLE_IT(htim, TIM_IT_CC3);
		}
	}
}

int PID_Angle(double errord) {
	// 1. Calculate the absolute error
	int error = (int)(errord * 10);
	error = abs(error);

	// 2. Return PWM Magnitude (stepped proportional control)
    // Large angle (> 45 deg): Full cruise speed
    if (error > 450) {
        times_acceptable = 0;
        return PID_ANG_MAX;
    }
    // Approaching (< 45 deg): Stepping down
    else if (error > 250) {
        times_acceptable = 0;
        return PID_ANG_HIGH;
    }
    // Deceleration zone (< 25 deg)
    else if (error > 150) {
        times_acceptable = 0;
        return PID_ANG_MED;
    }
    // Close to target (< 15 deg)
    else if (error > 60) {
        times_acceptable = 0;
        return PID_ANG_LOW;
    }
    // Settle zone (< 6 deg)
    else if (error > 20) {
        times_acceptable = 0;
        return PID_ANG_FINE;
    }
    // Final inch (< 2 deg)
    else if (error >= 2) {
        times_acceptable++;
        // --- CRITICAL CHANGE: Return the correct min PWM based on direction ---
        // A positive error_angle means a LEFT turn is needed.
        // A negative error_angle means a RIGHT turn is needed.
        if (errord > 0) {
            return PID_ANG_MIN_L; // Use Left minimum
        } else {
            return PID_ANG_MIN_R; // Use Right minimum
        }
    }
    else {
        times_acceptable++;
        return 0;
    }
}

int PID_Control(int error) {
    error = abs(error);

    // 1. Calculate Proportional Term
    float p_term = PID_STRAIGHT_KP * error;

    // 2. Calculate Integral Term (Accumulate ONLY near target to prevent saturation)
    if (error < 1000) {
        distance_integral += error;
        if (distance_integral > 5000) distance_integral = 5000; // Anti-windup cap
    } else {
        distance_integral = 0.0;
    }
    float i_term = PID_STRAIGHT_KI * distance_integral;

    // 3. Total Output
    int total_pwm = (int)(p_term + i_term);

    // 4. Clamp output
    if (total_pwm > PID_STR_MAX) total_pwm = PID_STR_MAX;
    if (total_pwm < PID_STR_MIN && error > 20) total_pwm = PID_STR_MIN;

    // 5. Arrival Check
    if (error <= 20) {
        times_acceptable++;
        return 0;
    } else {
        times_acceptable = 0;
        return total_pwm;
    }
}

int finishCheck() {
	uint32_t elapsed_time = HAL_GetTick() - move_start_time;

    // The motor task has already reached a turn target and requested braking.
    if (!is_moving) {
        return 0;
    }

    // If PID error has been minimal for ~20 ticks (approx 200ms)
    if (times_acceptable > 20) {
    	is_moving = 0;
        move_finish_reason = 1;
        e_brake = 1; 					// Signal motor task to cut PWM
        times_acceptable = 0;
        pwmVal_servo = SERVOCENTER;
        osDelay(300); 					// Wait for servo to physically recenter
        return 0; 						// 0 means "Finished"
    }

    // Dynamic timeout fail-safe
    if (elapsed_time > current_cmd_timeout) {
        is_moving = 0;
        move_finish_reason = 2;			// Timeout triggered
        e_brake = 1;   					// Signal motor task to cut PWM
        times_acceptable = 0;
        pwmVal_servo = SERVOCENTER;
        osDelay(300);
        return 0; 						// Force-stop moving
    }

    return 1; 							// 1 means "Still moving"
}

void moveCarStraight(double distance) {
    // Convert cm to encoder ticks (75 is a calibration multiplier you will tune later)
    int tick_distance = (int)(distance * TICKS_PER_CM);

    pwmVal_servo = SERVOCENTER;
    osDelay(300); // Allow physical servo to center itself

    e_brake = 0;
    times_acceptable = 0;
    move_finish_reason = 0;
    is_moving = 1;
    distance_integral = 0.0;
    move_start_time = HAL_GetTick();

    // Assign dynamic timeout for straight movement (60ms per cm + 4000ms baseline)
    current_cmd_timeout = (uint32_t)(fabs(distance) * 60.0) + 4000U;

    // Set a high baseline to prevent negative underflow
    left_encoder_val = 75000;
    right_encoder_val = 75000;
    left_target = 75000 + tick_distance;
    right_target = 75000 + tick_distance;

    // Wait until the robot reaches the target
    while (finishCheck()) {
        osDelay(10); // CRITICAL: Yields CPU so StartMotorTask can actually run!
    }
}

void moveCarRight(double angle) {
	double calibrated_angle;

    pwmVal_servo = SERVORIGHT;
    osDelay(300);

    e_brake = 0;
    times_acceptable = 0;
    move_finish_reason = 0;
    is_moving = 1;
    distance_integral = 0.0;
    move_start_time = HAL_GetTick();

    // If the requested angle is small (e.g., <= 50 degrees),
    // use the special calibration values for small turns.
    if (angle <= 50.0)
    {
        calibrated_angle = (angle * TURN_SCALE_R_SMALL) - TURN_BIAS_DEG_R_SMALL;
    }
    else // Otherwise, for all larger turns (90, 180, 360), use the standard model.
    {
        calibrated_angle = (angle * TURN_SCALE_R) - TURN_BIAS_DEG_R;
    }

    target_angle -= calibrated_angle;

    // Set the timeout
    current_cmd_timeout = (uint32_t) (angle * 45.0) + 3500U;

    while (finishCheck()) {
        osDelay(10);
    }
}

void moveCarLeft(double angle) {
	double calibrated_angle;

    pwmVal_servo = SERVOLEFT;
    osDelay(300);

    e_brake = 0;
    times_acceptable = 0;
    move_finish_reason = 0;
    is_moving = 1;
    distance_integral = 0.0;
    move_start_time = HAL_GetTick();

    // If the requested angle is small (e.g., <= 50 degrees),
    // use the special calibration values for small turns.
    if (angle <= 50.0)
    {
        calibrated_angle = (angle * TURN_SCALE_L_SMALL) + TURN_BIAS_DEG_L_SMALL;
    }
    else // Otherwise, for all larger turns (90, 180, 360), use the standard model.
    {
        calibrated_angle = (angle * TURN_SCALE_L) + TURN_BIAS_DEG_L;
    }

    target_angle += calibrated_angle;

    // Set dynamic timeout
    current_cmd_timeout = (uint32_t) (angle * 45.0) + 3500U;

    while (finishCheck()) {
        osDelay(10);
    }
}

void moveCarSlideRight(int forward) {
    int sign = (forward == 1) ? 1 : -1;
    e_brake = 0;
    times_acceptable = 0;

    // Step 1: Drive Straight to clear obstacle
    if (sign > 0) {
        moveCarStraight((450.0 / SLIDE_TICKS_PER_CM) * sign);
    } else {
        moveCarStraight((540.0 / SLIDE_TICKS_PER_CM) * sign);
    }

    // Wait for the straight segment to finish
    while (finishCheck()) {
        osDelay(10);
    }
    osDelay(50); // Small pause to stabilize physical inertia
    times_acceptable = 0;

    // Step 2: Turn Right
    moveCarRight(29.0 * sign);
    while (finishCheck()) {
        osDelay(10);
    }
    osDelay(50);
    times_acceptable = 0;

    // Step 3: Counter-steer Left to re-align heading
    moveCarLeft(29.0 * sign);
    while (finishCheck()) {
        osDelay(10);
    }
    osDelay(50);
}

void moveCarSlideLeft(int forward) {
    int sign = (forward == 1) ? 1 : -1;
    e_brake = 0;
    times_acceptable = 0;

    // Step 1: Drive Straight to clear obstacle
    if (sign > 0) {
        moveCarStraight((560.0 / SLIDE_TICKS_PER_CM) * sign);
    } else {
        moveCarStraight((700.0 / SLIDE_TICKS_PER_CM) * sign);
    }

    // Wait for the straight segment to finish
    while (finishCheck()) {
        osDelay(10);
    }
    osDelay(50);
    times_acceptable = 0;

    // Step 2: Turn Left
    moveCarLeft(29.0 * sign);
    while (finishCheck()) {
        osDelay(10);
    }
    osDelay(50);
    times_acceptable = 0;

    // Step 3: Counter-steer Right to re-align heading
    moveCarRight(29.0 * sign);
    while (finishCheck()) {
        osDelay(10);
    }
    osDelay(50);
}

/* USER CODE END 4 */

void StartDefaultTask(void *argument)
{
  /* USER CODE BEGIN 5 */
  char countBuf[16];

  /* Infinite loop */
  for(;;)
  {
	  // Read the physical PE0 button.
	  // CHANGE to '== GPIO_PIN_RESET' if your schematic pulls PE0 to GND when pressed!
	  if (HAL_GPIO_ReadPin(GPIOE, GPIO_PIN_0) == GPIO_PIN_RESET)
	  {
		  // 1. Alert user that test is armed
		  strcpy(oled_status_msg, "Armed! Unplug now");
		  osDelay(1000); // 1 second to unplug your wire safely

		  // 2. Start a 3-second visual countdown on the OLED
		  for (int count = 3; count > 0; count--)
		  {
			  sprintf(countBuf, "Starting in... %d", count);
			  strcpy(oled_status_msg, countBuf);
			  osDelay(1000);
		  }

		  // 3. Clear the status message to restore the dashboard
		  strcpy(oled_status_msg, "");
		  osDelay(100);

		  // 4. Force execute S100 directly (Forward 100cm)
		  moveCarStraight(100.0);
	  }

	HAL_GPIO_TogglePin(LED3_GPIO_Port, LED3_Pin);

    osDelay(100);
  }
  /* USER CODE END 5 */
}

void StartCommunicateTask(void *argument)
{
  /* USER CODE BEGIN StartCommunicateTask */

  char cmdBuffer[15];		// Local buffer to hold the built string (e.g. "L90")
  uint8_t receivedChar;
  uint8_t cmdIndex = 0;

  /* Infinite loop */
  for(;;)
  {
	// Wait until a character is put into the queue
	if (osMessageQueueGet(uartQueueHandle, &receivedChar, NULL, osWaitForever) == osOK)
	{
		// Check for newline, because RPi will send command ending with newline '\n' or '\r'
		if (receivedChar == '\n' || receivedChar == '\r')
		{
			if (cmdIndex > 0)
			{
				cmdBuffer[cmdIndex] = '\0'; // Add null-terminator to make a valid C-string

				// 1. PARSE THE COMMAND
				char command_char1 = ' ';
				char command_char2 = ' ';
				int value = 0;
				int items_parsed = 0;

				// Check if the second character (index 1) is a letter (A-Z or a-z)
				// We use cmdBuffer because index 0 is the first letter (e.g., 'F' or 'S')
				if ((cmdBuffer[1] >= 'A' && cmdBuffer[1] <= 'Z') || (cmdBuffer[1] >= 'a' && cmdBuffer[1] <= 'z'))
				{
					// It's a 2-letter command like "SL50"
					items_parsed = sscanf(cmdBuffer, "%c%c%d", &command_char1, &command_char2, &value);
				}
				else
				{
					// It's a 1-letter command like "F50"
					items_parsed = sscanf(cmdBuffer, "%c%d", &command_char1, &value);
				}

				// 2. EXECUTE THE MOVEMENT FUNCTION
				if (items_parsed > 0)
				{
				    // Reset Gyro baseline before starting a new movement
				    total_angle = 0.0;
				    target_angle = 0.0;

					switch (command_char1)
					{
						case 'S': 							// Straight or Slide
							if (command_char2 == 'L') 		// "SL" command for Slide Left
								moveCarSlideLeft(value); 	// value is 1 for fwd, -1 for bwd
							else if (command_char2 == 'R') 	// "SR" command for Slide Right
								moveCarSlideRight(value);
							else if (command_char2 == 'B')
							{
								/* Accept the RPi protocol's SB<number> form as a calibrated
								 * backward straight movement. */
								moveCarStraight(-value * BACKWARD_MULTIPLIER);
							}
							else
								moveCarStraight(value);		// "S" command for Straight
							break;

						case 'F':							// Forward (can be an alias for Straight)
							moveCarStraight(value);
							break;

						case 'B':							// Backward (can be an alias for Straight with negative value
							moveCarStraight(-value * BACKWARD_MULTIPLIER);
							break;

						case 'R':							// Right Turn
							moveCarRight(value);
							break;

						case 'L':							// Left Turn
							moveCarLeft(value);
							break;

						/* Can add more cases here */
					}
				}

				/* Turn acknowledgements include measured and target angles so the
				 * calibration client can identify target reaches versus timeouts. */
				char ackMsg[64];
				if (command_char1 == 'L' || command_char1 == 'R')
				{
					snprintf(ackMsg, sizeof(ackMsg), "A G:%.1f T:%.1f %s\n",
							(float)total_angle, (float)target_angle,
							move_finish_reason == 2 ? "TIMEOUT" : "TARGET");
				}
				else
				{
					snprintf(ackMsg, sizeof(ackMsg), "A\n");
				}
				HAL_UART_Transmit(&huart3, (uint8_t *)ackMsg, strlen(ackMsg), 100);

				// 4. UPDATE OLED RPI COMMAND VARIABLE & RESET
				strcpy(dash_lastCmd, cmdBuffer);
				cmdIndex = 0; // Reset command index to 0 to prepare for next command
			}
		} else {
			// This means not a newline yet, continue adding character into cmdBuffer
			// Check for command length, ensure don't overflow the 15-char array limit
			if (cmdIndex < 14)
			{
				cmdBuffer[cmdIndex] = receivedChar;
				cmdIndex++;
			}
		}
	}
  }
  /* USER CODE END StartCommunicateTask */
}

void StartMotorTask(void *argument)
{
  /* USER CODE BEGIN StartMotorTask */

  // Encoder Variables
  int16_t cnt_L = 0;
  int16_t cnt_R = 0;
  pwmVal_L = 0;
  pwmVal_R = 0;
  left_encoder_val = 0;
  right_encoder_val = 0;

  // Start Encoder Timer
  HAL_TIM_Encoder_Start(&htim2, TIM_CHANNEL_ALL); // Motor A (Left) Encoder
  HAL_TIM_Encoder_Start(&htim3, TIM_CHANNEL_ALL); // Motor B (Right) Encoder

  // Start PWM Timer for Motor A (Left, PB8 & PB9 via TIM4)
  HAL_TIM_PWM_Start(&htim4, TIM_CHANNEL_3);
  HAL_TIM_PWM_Start(&htim4, TIM_CHANNEL_4);

  // Start PWM Timer for Motor B (Right, PE5 & PE6 via TIM9)
  HAL_TIM_PWM_Start(&htim9, TIM_CHANNEL_1);
  HAL_TIM_PWM_Start(&htim9, TIM_CHANNEL_2);

  // Start PWM Timer for Servo Motor (PB15 vis TIM12)
  HAL_TIM_PWM_Start(&htim12, TIM_CHANNEL_2);

  // Ensure robot starts completely stationary and centered
  __HAL_TIM_SET_COMPARE(&htim12, TIM_CHANNEL_2, SERVOCENTER); // Center Servo (1.5ms pulse)
  __HAL_TIM_SET_COMPARE(&htim4, TIM_CHANNEL_3, 0);
  __HAL_TIM_SET_COMPARE(&htim4, TIM_CHANNEL_4, 0);
  __HAL_TIM_SET_COMPARE(&htim9, TIM_CHANNEL_1, 0);
  __HAL_TIM_SET_COMPARE(&htim9, TIM_CHANNEL_2, 0);

  osDelay(1000);

  // Reset Encoder Count
  __HAL_TIM_SET_COUNTER(&htim2, 0);
  __HAL_TIM_SET_COUNTER(&htim3, 0);

  /* Infinite loop */
  for(;;)
  {
	// Step A: Read Encoders
	cnt_L = (int16_t)__HAL_TIM_GET_COUNTER(&htim2);
	cnt_R = (int16_t)__HAL_TIM_GET_COUNTER(&htim3);

	__HAL_TIM_SET_COUNTER(&htim2, 0);
	__HAL_TIM_SET_COUNTER(&htim3, 0);

	left_encoder_val += cnt_L;
	right_encoder_val += cnt_R;

	dash_encoderL = left_encoder_val;
	dash_encoderR = right_encoder_val;
	// Speed calibration
	//dash_encoderL = cnt_L;
	//dash_encoderR = cnt_R;
	dash_direction = __HAL_TIM_IS_TIM_COUNTING_DOWN(&htim2);

	if (e_brake) {

		pwmVal_L = 0;
		pwmVal_R = 0;
		left_target = left_encoder_val;
		right_target = right_encoder_val;

		/* Cut PWM immediately. Driving both bridge inputs at 100% for braking
		 * causes high current spikes and can reset the MCU/driver. */
        __HAL_TIM_SET_COMPARE(&htim4, TIM_CHANNEL_3, 0);
        __HAL_TIM_SET_COMPARE(&htim4, TIM_CHANNEL_4, 0);
        __HAL_TIM_SET_COMPARE(&htim9, TIM_CHANNEL_1, 0);
        __HAL_TIM_SET_COMPARE(&htim9, TIM_CHANNEL_2, 0);

        e_brake = 0;

	} else if (emergency_stop_requested) {
		/* No active brake pulse here: cut motor PWM immediately. */
		__HAL_TIM_SET_COMPARE(&htim4, TIM_CHANNEL_3, 0);
		__HAL_TIM_SET_COMPARE(&htim4, TIM_CHANNEL_4, 0);
		__HAL_TIM_SET_COMPARE(&htim9, TIM_CHANNEL_1, 0);
		__HAL_TIM_SET_COMPARE(&htim9, TIM_CHANNEL_2, 0);
		pwmVal_servo = SERVOCENTER;
		__HAL_TIM_SET_COMPARE(&htim12, TIM_CHANNEL_2, pwmVal_servo);
		e_brake = 0;
		emergency_stop_requested = 0;

	} else if (is_moving) {

		// Step B: Move Servo Motor
		__HAL_TIM_SET_COMPARE(&htim12, TIM_CHANNEL_2, pwmVal_servo);
		error_angle = target_angle - total_angle;

		if (pwmVal_servo < TURNLEFT_TH) { // Turn left
			/* Stop as the gyro reaches/crosses target to limit coasting overshoot. */
			if (error_angle <= TURN_STOP_TOLERANCE_DEG) {
				is_moving = 0;
				move_finish_reason = 1;
				e_brake = 1;
				pwmVal_servo = SERVOCENTER;
				continue;
			}

			// 1. Calculate base speeds
			pwmVal_R = PID_Angle(error_angle) * RIGHT_MOTOR_BIAS;	// Master Wheel: Right
			pwmVal_L = pwmVal_R * TURN_SLAVE_RATIO;					// Slave Wheel: Left

			// 2. Apply speeds to 2-pin H-Bridge based on error direction
			if (error_angle > 0) {
				// --- Forward Movement ---
				// Left Motor (TIM4) Forward
				__HAL_TIM_SET_COMPARE(&htim4, TIM_CHANNEL_3, 0);
				__HAL_TIM_SET_COMPARE(&htim4, TIM_CHANNEL_4, pwmVal_L);

				// Right Motor (TIM9) Forward
	            __HAL_TIM_SET_COMPARE(&htim9, TIM_CHANNEL_1, 0);
	            __HAL_TIM_SET_COMPARE(&htim9, TIM_CHANNEL_2, pwmVal_R);
			} else {
				// --- Backward Movement ---
				// Left Motor (TIM4) Backward
				__HAL_TIM_SET_COMPARE(&htim4, TIM_CHANNEL_3, 0);
				__HAL_TIM_SET_COMPARE(&htim4, TIM_CHANNEL_4, 0);

				// Right Motor (TIM9) Backward
	            __HAL_TIM_SET_COMPARE(&htim9, TIM_CHANNEL_1, 0);
	            __HAL_TIM_SET_COMPARE(&htim9, TIM_CHANNEL_2, 0);
			}
		}

		else if (pwmVal_servo > TURNRIGHT_TH) { // Turn right
			/* Stop as the gyro reaches/crosses target to limit coasting overshoot. */
			if (error_angle >= -TURN_STOP_TOLERANCE_DEG) {
				is_moving = 0;
				move_finish_reason = 1;
				e_brake = 1;
				pwmVal_servo = SERVOCENTER;
				continue;
			}

			pwmVal_L = PID_Angle(error_angle); // Master Wheel: Left
			pwmVal_R = pwmVal_L * TURN_SLAVE_RATIO;	   // Slave Wheel: Right

			// 2. Apply speeds to 2-pin H-Bridge based on error direction
			if (error_angle < 0) {
				// --- Forward Movement ---
				// Left Motor (TIM4) Forward
				__HAL_TIM_SET_COMPARE(&htim4, TIM_CHANNEL_3, 0);
				__HAL_TIM_SET_COMPARE(&htim4, TIM_CHANNEL_4, pwmVal_L);

				// Right Motor (TIM9) Forward
	            __HAL_TIM_SET_COMPARE(&htim9, TIM_CHANNEL_1, 0);
	            __HAL_TIM_SET_COMPARE(&htim9, TIM_CHANNEL_2, pwmVal_R);
			} else {
				// --- Backward Movement ---
				// Left Motor (TIM4) Backward
				__HAL_TIM_SET_COMPARE(&htim4, TIM_CHANNEL_3, 0);
				__HAL_TIM_SET_COMPARE(&htim4, TIM_CHANNEL_4, 0);

				// Right Motor (TIM9) Backward
	            __HAL_TIM_SET_COMPARE(&htim9, TIM_CHANNEL_1, 0);
	            __HAL_TIM_SET_COMPARE(&htim9, TIM_CHANNEL_2, 0);
			}
		}

		else { // Straight
		    // 1. Calculate base speeds
		    pwmVal_R = PID_Control(right_target - right_encoder_val) * RIGHT_MOTOR_BIAS;
		    pwmVal_L = PID_Control(left_target - left_encoder_val);

		    // 2. Perform active gyro drift correction via differential rear motors
		    int left_correction = (int)(total_angle * GYRO_CORRECTION_KP);
		    int right_correction = (int)(-total_angle * GYRO_CORRECTION_KP);

		    int is_forward_cmd = (right_target >= 75000);

		    if (is_forward_cmd) {
		        if ((right_target - right_encoder_val) > 0) {
		            pwmVal_L += left_correction;
		            pwmVal_R += right_correction;

		            __HAL_TIM_SET_COMPARE(&htim4, TIM_CHANNEL_3, 0);
		            __HAL_TIM_SET_COMPARE(&htim4, TIM_CHANNEL_4, pwmVal_L);
		            __HAL_TIM_SET_COMPARE(&htim9, TIM_CHANNEL_1, 0);
		            __HAL_TIM_SET_COMPARE(&htim9, TIM_CHANNEL_2, pwmVal_R);
		        } else {
		            __HAL_TIM_SET_COMPARE(&htim4, TIM_CHANNEL_3, 0);
		            __HAL_TIM_SET_COMPARE(&htim4, TIM_CHANNEL_4, 0);
		            __HAL_TIM_SET_COMPARE(&htim9, TIM_CHANNEL_1, 0);
		            __HAL_TIM_SET_COMPARE(&htim9, TIM_CHANNEL_2, 0);
		            times_acceptable++;
		        }
		    } else {
		        if ((right_target - right_encoder_val) < 0) {
		            pwmVal_L -= left_correction;
		            pwmVal_R -= right_correction;

		            __HAL_TIM_SET_COMPARE(&htim4, TIM_CHANNEL_3, pwmVal_L);
		            __HAL_TIM_SET_COMPARE(&htim4, TIM_CHANNEL_4, 0);
		            __HAL_TIM_SET_COMPARE(&htim9, TIM_CHANNEL_1, pwmVal_R);
		            __HAL_TIM_SET_COMPARE(&htim9, TIM_CHANNEL_2, 0);
		        } else {
		            __HAL_TIM_SET_COMPARE(&htim4, TIM_CHANNEL_3, 0);
		            __HAL_TIM_SET_COMPARE(&htim4, TIM_CHANNEL_4, 0);
		            __HAL_TIM_SET_COMPARE(&htim9, TIM_CHANNEL_1, 0);
		            __HAL_TIM_SET_COMPARE(&htim9, TIM_CHANNEL_2, 0);
		            times_acceptable++;
		        }
		    }

		    // 3. Keep front steering servo centered during straight runs
		    // Differential motor speed handles 100% of straight heading corrections smoothly!
		    pwmVal_servo = SERVOCENTER;
		    __HAL_TIM_SET_COMPARE(&htim12, TIM_CHANNEL_2, pwmVal_servo);
		}
	} else {
		// Force absolute zero to prevent whines, hums, and physical oscillations
		__HAL_TIM_SET_COMPARE(&htim4, TIM_CHANNEL_3, 0);
		__HAL_TIM_SET_COMPARE(&htim4, TIM_CHANNEL_4, 0);
		__HAL_TIM_SET_COMPARE(&htim9, TIM_CHANNEL_1, 0);
		__HAL_TIM_SET_COMPARE(&htim9, TIM_CHANNEL_2, 0);

		pwmVal_L = 0;
		pwmVal_R = 0;
	}

	osDelay(10);

	if (times_acceptable > 1000)
		times_acceptable = 1001;
  }
  /* USER CODE END StartMotorTask */
}

void StartOledTask(void *argument)
{
  /* USER CODE BEGIN StartOledTask */
  char textBuffer[32];	// Temp buffer to format numbers into text

  /* Infinite loop */
  for(;;)
  {
	OLED_Clear();

	if (strlen(oled_status_msg) > 0)
	{
		OLED_ShowString(0, 24, (uint8_t*)oled_status_msg);
	}
	else
	{
		// Line 1: RPi Instructions
		OLED_ShowString(0, 0, (uint8_t*) "CMD: ");
		OLED_ShowString(35, 0, (uint8_t*) dash_lastCmd);

		// Line 2: Gyroscope Angle & Ultrasonic Distance
		sprintf(textBuffer, "G: %.1f D: %.1fcm", (float)dash_gyroZ, dash_ultraDist);
		OLED_ShowString(0, 12, (uint8_t*) textBuffer);

		// Line 3: Left Encoder Value
		sprintf(textBuffer, "Enc L: %d", dash_encoderL);
		OLED_ShowString(0, 24, (uint8_t *) textBuffer);

		// Line 4: Right Encoder Value
		sprintf(textBuffer, "Enc R: %d", dash_encoderR);
		OLED_ShowString(0, 36, (uint8_t *) textBuffer);

		// Line 5: Encoder Direction
		sprintf(textBuffer, "Dir: %d", dash_direction);
		OLED_ShowString(0, 48, (uint8_t *) textBuffer);
	}

	OLED_Refresh_Gram();
	    osDelay(100);
  }
  /* USER CODE END StartOledTask */
}

void StartGyroTask(void *argument)
{
  /* USER CODE BEGIN StartGyroTask */
  ICM20948_Data IMU_Data;
  double offset = 0.0;
  uint32_t tick = 0;
  int i = 0;

  strcpy(oled_status_msg, "Warmup IMU...");
  osDelay(2000); // Increased from 500ms to 2000ms

  // 1. START-UP CALIBRATION PHASE
  // KEEP ROBOT STILL DURING FIRST 5 SECONDS!
  strcpy(oled_status_msg, "Calibrating Gyro...");
  osDelay(500);

  while (i < 100)
  {
	  osDelay(30); // Get sample every 30ms
	  ICM_ReadData(&IMU_Data);
	  offset += (double)IMU_Data.z_gyro;
	  i++;
  }
  offset = offset / 100.0; // Calculate average drift bias

  // Show on OLED that calibration is complete
  strcpy(oled_status_msg, "Calib Done!");
  osDelay(500);
  strcpy(oled_status_msg, "");

  tick = HAL_GetTick();

  /* Infinite loop */
  for(;;)
  {
    osDelay(10); // High-frequency 100Hz loop for accurate Euler integration

	// 1. Fetch IMU data
	ICM_ReadData(&IMU_Data);

	// 2. Calculate time elapsed (delta t) in seconds
	uint32_t current_tick = HAL_GetTick();
	double dt = (double)(current_tick - tick) / 1000.0;
	tick = current_tick;

	// 3. Subtract baseline offset and integrate angular velocity to get absolute degrees
	double gz_corrected = (double)IMU_Data.z_gyro - offset;

	/* Use the floating-point absolute function so the gyro deadband is evaluated
	 * with its fractional precision rather than after integer truncation. */
	// Force gyro angle to 0.0 if rotation is less than 0.35 degrees/sec
	if (fabs(gz_corrected) < 0.35)
		gz_corrected = 0.0;

	// 4. Integrate the filtered velocity
	total_angle += gz_corrected * dt;

	// 5. Update gyro dashboard variable
	dash_gyroZ = total_angle;
  }
  /* USER CODE END StartGyroTask */
}

void StartUltrasonicTask(void *argument)
{
  /* USER CODE BEGIN StartUltrasonicTask */
  /* Infinite loop */
  for(;;)
  {
	HAL_GPIO_WritePin(ULTRASONIC_TRIG_GPIO_Port, ULTRASONIC_TRIG_Pin, GPIO_PIN_RESET);
	delay_us(2);

	first_captured = 0;
	__HAL_TIM_SET_CAPTUREPOLARITY(&htim5, TIM_CHANNEL_3, TIM_INPUTCHANNELPOLARITY_RISING);
	__HAL_TIM_ENABLE_IT(&htim5, TIM_IT_CC3);

	HAL_GPIO_WritePin(ULTRASONIC_TRIG_GPIO_Port, ULTRASONIC_TRIG_Pin, GPIO_PIN_SET);
	delay_us(10); // Hardware blocking delay for 10us is perfectly safe
	HAL_GPIO_WritePin(ULTRASONIC_TRIG_GPIO_Port, ULTRASONIC_TRIG_Pin, GPIO_PIN_RESET);

	osDelay(60); // Wait for echo to process and settle
  }
  /* USER CODE END StartUltrasonicTask */
}

void HAL_TIM_PeriodElapsedCallback(TIM_HandleTypeDef *htim)
{
  if (htim->Instance == TIM7) {
    HAL_IncTick();
  }
}

void Error_Handler(void)
{
  __disable_irq();
  while (1)
  {
  }
}
